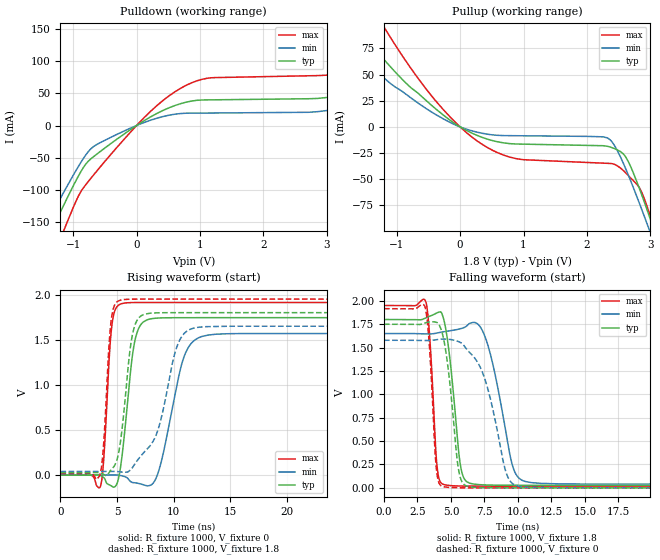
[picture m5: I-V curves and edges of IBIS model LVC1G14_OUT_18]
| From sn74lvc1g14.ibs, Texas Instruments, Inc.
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[Model]   LVC1G14_OUT_18
Model_type  Output
Vref =   0
Rref =   1000
Cref =   30p
Vmeas =   0.9
| variable   typ   min   max
C_comp   9.95pF   6.40pF   16.09pF
| C_pullup   9.15pF   6.40pF   10.37pF
| C_pulldown   10.74pF   6.90pF   16.09pF
[Temperature Range]   40   100   -40
| Ambient temperature   25   85   -40
[Voltage range]   1.8   1.65   1.95
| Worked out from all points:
|   slope of the pulldown table from 0 to 0.27 V, typ, clamps not added: 16.8 ohm
|   slope of the pullup table from 0 to 0.27 V, typ, clamps not added: 33 ohm
|   rising waveform, R_fixture 1000, V_fixture 0: 20-80 % time 878ps typ, 1.57ns min, 512ps max; typ from 0 V to 1.74 V
|   falling waveform, R_fixture 1000, V_fixture 1.8: 20-80 % time 716ps typ, 1.28ns min, 430ps max; typ from 1.8 V to 0.027 V
|   rising waveform, R_fixture 1000, V_fixture 1.8: 20-80 % time 897ps typ, 1.94ns min, 515ps max; typ from 0.027 V to 1.8 V
|   falling waveform, R_fixture 1000, V_fixture 0: 20-80 % time 750ps typ, 1.58ns min, 435ps max; typ from 1.75 V to 0 V
[Pulldown]
| LVC1G14_OUT_18
|   Voltage   I(typ)   I(min)   I(max)
-5.5V     -1.02A     -914.2mA   -1.211A
-1.49V    -194.3mA   -166.1mA   -248.7mA
-1.27V    -148.7mA   -125.7mA   -193.7mA
-1.11V    -116mA     -96.9mA    -154.1mA
-645mV    -45.9mA    -30.54mA   -72.92mA
690mV     33.84mA    18.58mA    57.6mA
3.205V    47.35mA    26.83mA    81.75mA
4.215V    79.09mA    21.52mA    130mA
4.445V    47.14mA    21.65mA    144.9mA
4.62V     44.43mA    21.75mA    152.8mA
5.01V     44.71mA    21.98mA    83.26mA
11V       50.71mA    25.31mA    93.17mA
[Pullup]
| LVC1G14_OUT_18
|   Voltage   I(typ)   I(min)   I(max)
-5.5V     449.7mA    254mA      638.5mA
-2.225V   143.3mA    107.6mA    207.3mA
-1.755V   105.1mA    78.04mA    153.5mA
-1.195V   63.95mA    46.44mA    94.81mA
-375mV    16.75mA    11.48mA    24.15mA
420mV     -11.47mA   -6.842mA   -19.31mA
2.34V     -18.75mA   -11.19mA   -34.79mA
2.61V     -28.71mA   -39.94mA   -43.87mA
2.825V    -58.63mA   -72.76mA   -58mA
2.97V     -83.15mA   -96.31mA   -80.03mA
3.12V     -109.8mA   -121.4mA   -108.9mA
11V       -1.703A    -1.583A    -1.935A
[Ramp]
| LVC1G14_OUT_18
| variable   typ   min   max
dV/dt_r   1.13/9.41E-10   1.01/1.68E-09   1.23/5.52E-10
dV/dt_f   1.11/7.63E-10   1.04/1.40E-09   1.20/4.53E-10
R_load = 1000
[Rising Waveform]
| LVC1G14_OUT_18
R_fixture =   1000
C_fixture =   0
L_fixture =   0
V_fixture =   0
V_fixture_min = 0
V_fixture_max = 0
|   Time   V(typ)   V(min)   V(max)
0s        114pV      8.171nV    2.621nV
3.535ns   -5.419mV   661.3uV    -122.6mV
4.52ns    -122.4mV   1.081mV    1.637V
5.4ns     175.8mV    -7.315mV   1.899V
6.53ns    1.463V     -84.97mV   1.912V
7.795ns   1.726V     -118.1mV   1.913V
8.8ns     1.742V     100.1mV    1.913V
10.9ns    1.744V     1.308V     1.913V
12.49ns   1.744V     1.536V     1.913V
50ns      1.744V     1.569V     1.913V
[Falling Waveform]
| LVC1G14_OUT_18
R_fixture =   1000
C_fixture =   0
L_fixture =   0
V_fixture =   1.8
V_fixture_min = 1.65
V_fixture_max = 1.95
|   Time   V(typ)   V(min)   V(max)
0s        1.8V       1.65V      1.95V
3.125ns   1.818V     1.647V     1.987V
3.96ns    1.871V     1.655V     230mV
4.505ns   1.774V     1.67V      34.26mV
5.705ns   242.2mV    1.702V     19.66mV
6.475ns   47.3mV     1.763V     18.61mV
7.62ns    31.11mV    1.586V     18.28mV
9.565ns   27.78mV    251.7mV    18.22mV
10.54ns   27.48mV    68.29mV    18.21mV
50ns      27.28mV    39.55mV    18.2mV
[Rising Waveform]
| LVC1G14_OUT_18
R_fixture =   1000
C_fixture =   0
L_fixture =   0
V_fixture =   1.8
V_fixture_min = 1.65
V_fixture_max = 1.95
|   Time   V(typ)   V(min)   V(max)
0s        27.26mV    39.51mV    18.19mV
3.475ns   24.55mV    40mV       -1.094mV
3.795ns   9.126mV    40.07mV    312.5mV
4.465ns   56.91mV    40.09mV    1.699V
5.27ns    346.3mV    35.73mV    1.937V
6.335ns   1.543V     79.05mV    1.949V
7.49ns    1.785V     267.5mV    1.95V
10.35ns   1.8V       1.446V     1.95V
11.75ns   1.8V       1.628V     1.95V
50ns      1.8V       1.65V      1.95V
[Falling Waveform]
| LVC1G14_OUT_18
R_fixture =   1000
C_fixture =   0
L_fixture =   0
V_fixture =   0
V_fixture_min = 0
V_fixture_max = 0
|   Time   V(typ)   V(min)   V(max)
0s        1.749V     1.578V     1.916V
3.055ns   1.762V     1.576V     1.939V
3.38ns    1.774V     1.576V     1.53V
3.905ns   1.771V     1.584V     210.6mV
4.405ns   1.621V     1.591V     13.94mV
5.565ns   196.1mV    1.564V     1.174mV
6.28ns    15.25mV    1.464V     336.1uV
9.165ns   308.1uV    143.1mV    20.77uV
10.03ns   144.5uV    17.81mV    18.25uV
50ns      15.59uV    33.15uV    7.682uV
